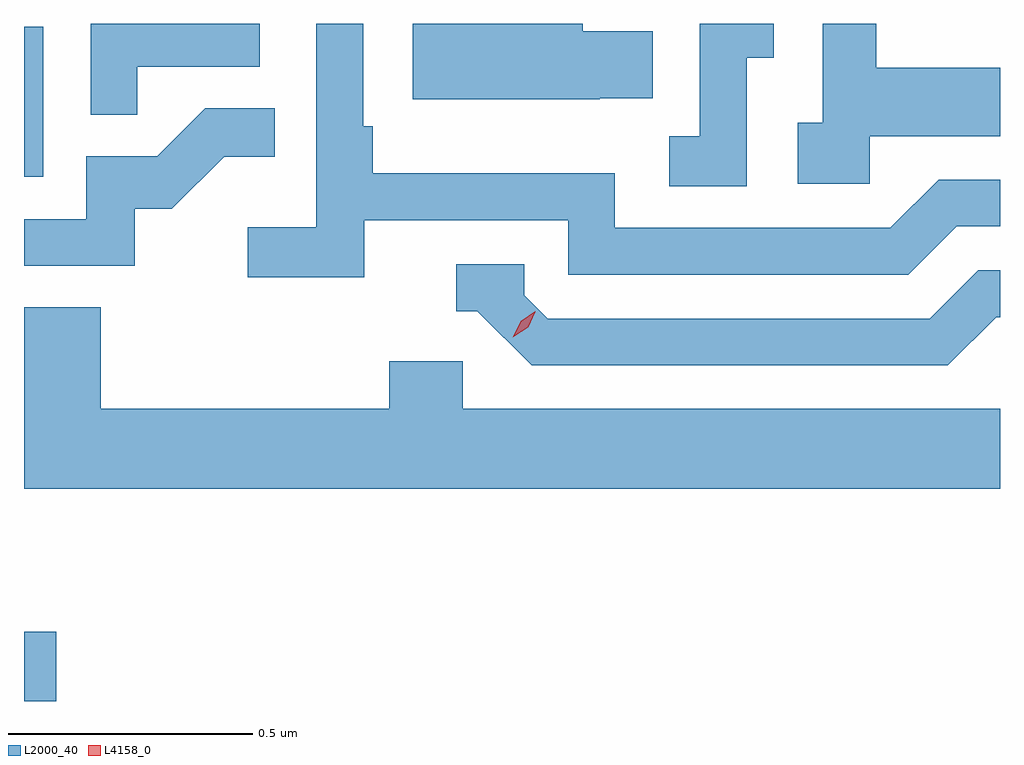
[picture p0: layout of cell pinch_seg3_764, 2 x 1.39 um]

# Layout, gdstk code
import gdstk
lib = gdstk.Library(unit=1e-6, precision=1e-09)
def R(c, l, rs):  # rectangles x0, y0, x1, y1
    for r in rs: c.add(gdstk.rectangle(r[:2], r[2:], *l))
def P(c, l, *ps):  # polygons
    for p in ps: c.add(gdstk.Polygon(p, *l))
L2000_40 = (2000, 40)
L4158_0 = (4158, 0)

pinch_seg3_764 = lib.new_cell('pinch_seg3_764')
R(pinch_seg3_764, L2000_40, [(844.987,729.785,845.053,729.927), (844.987,730.86,845.026,731.167)])
P(pinch_seg3_764, L2000_40, [(846.167,731.021),(846.275,731.021),(846.275,731.158),(846.132,731.158),(846.132,731.173),(845.784,731.173),(845.784,731.018),(846.167,731.018)],
  [(846.72,730.943),(846.987,730.943),(846.987,731.083),(846.733,731.083),(846.733,731.173),(846.624,731.173),(846.624,730.97),(846.573,730.97),(846.573,730.845),(846.72,730.845)],
  [(845.219,731.085),(845.47,731.085),(845.47,731.173),(845.124,731.173),(845.124,730.987),(845.219,730.987)],
  [(846.468,731.104),(846.523,731.104),(846.523,731.173),(846.372,731.173),(846.372,730.943),(846.309,730.943),(846.309,730.84),(846.468,730.84)],
  [(845.684,730.77),(846.102,730.77),(846.102,730.659),(846.799,730.659),(846.898,730.758),(846.987,730.758),(846.987,730.854),(846.861,730.854),(846.762,730.755),(846.198,730.755),(846.198,730.867),(845.702,730.867),(845.702,730.963),(845.682,730.963),(845.682,731.173),(845.586,731.173),(845.586,730.756),(845.445,730.756),(845.445,730.654),(845.684,730.654)],
  [(845.214,730.794),(845.29,730.794),(845.397,730.901),(845.501,730.901),(845.501,731),(845.358,731),(845.26,730.902),(845.115,730.902),(845.115,730.773),(844.987,730.773),(844.987,730.677),(845.214,730.677)],
  [(846.979,730.572),(846.987,730.572),(846.987,730.668),(846.942,730.668),(846.843,730.569),(846.06,730.569),(846.012,730.617),(846.012,730.68),(845.873,730.68),(845.873,730.584),(845.916,730.584),(846.027,730.473),(846.88,730.473)],
  [(846.987,730.384),(845.886,730.384),(845.886,730.482),(845.735,730.482),(845.735,730.384),(845.144,730.384),(845.144,730.592),(844.987,730.592),(844.987,730.22),(846.987,730.22)])
P(pinch_seg3_764, L4158_0, [(845.989,730.531),(845.989,730.531),(846.005,730.564),(846.035,730.584),(846.035,730.584),(846.035,730.583),(846.02,730.551),(845.989,730.531)])

lib.write_gds('pinch_seg3_764.gds')
